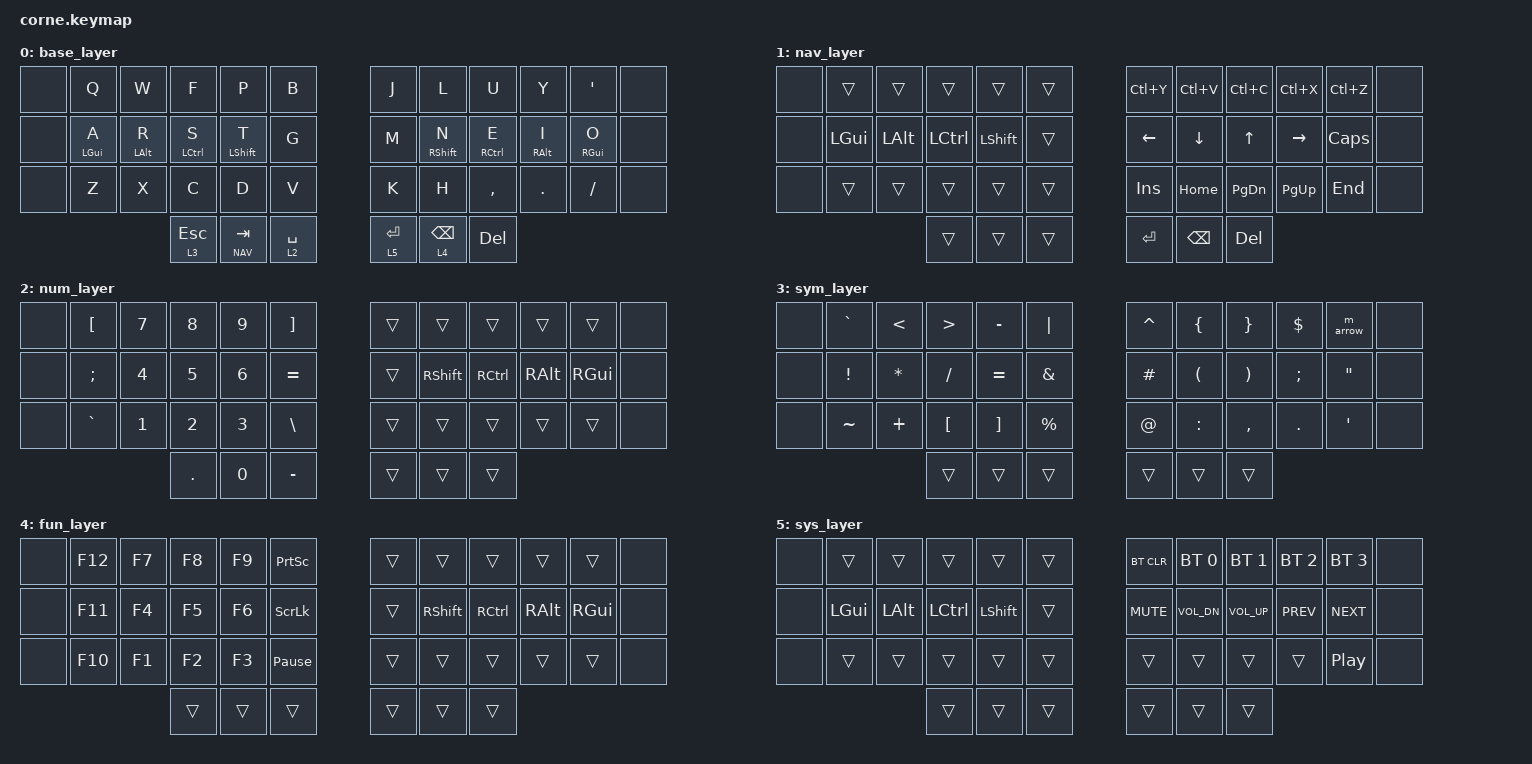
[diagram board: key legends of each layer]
#include <behaviors.dtsi>
#include <dt-bindings/zmk/bt.h>
#include <dt-bindings/zmk/keys.h>

#define BASE 0
#define NAV  1
#define NUM  2
#define SYM  3
#define FUN  4
#define SYS  5

/ {
    behaviors {
        hm: homerow_mods {
            compatible = "zmk,behavior-hold-tap";
            label = "HOMEROW_MODS";
            #binding-cells = <2>;
            tapping-term-ms = <200>;
            quick-tap-ms = <0>;
            flavor = "tap-preferred";
            bindings = <&kp>, <&kp>;
        };
    };

    macros {
        m_arrow: m_arrow {
            compatible = "zmk,behavior-macro";
            #binding-cells = <0>;
            bindings = <&kp MINUS &kp GT>;
        };
    };

    keymap {
        compatible = "zmk,keymap";

        base_layer {
            // -----------------------------------------------------------------------------------------
            // | NONE |  Q  |  W  |  F  |  P  |  B  |   |  J  |  L   |  U  |  Y  |  '  | NONE |
            // | NONE | A/GUI | R/ALT | S/CTRL| T/SFT |  G  |   |  M  | N/SFT| E/CTRL| I/ALT | O/GUI | NONE |
            // | NONE |  Z  |  X  |  C  |  D  |  V  |   |  K  |  H   |  ,  |  .  |  /  | NONE |
            //                    | SYS/ESC | NAV/TAB | SPACE |   | RET | NUM/BSPC | SYM/DEL |

            bindings = <
&none  &kp Q       &kp W       &kp F        &kp P        &kp B          &kp J        &kp L        &kp U        &kp Y       &kp SQT     &none
&none  &hm LGUI A  &hm LALT R  &hm LCTRL S  &hm LSHFT T  &kp G          &kp M        &hm RSHFT N  &hm RCTRL E  &hm RALT I  &hm RGUI O  &none
&none  &kp Z       &kp X       &kp C        &kp D        &kp V          &kp K        &kp H        &kp COMMA    &kp DOT     &kp FSLH    &none
                               &lt 3 ESC    &lt NAV TAB  &lt 2 SPACE    &lt 5 ENTER  &lt 4 BSPC   &kp DELETE
            >;
        };

        nav_layer {
            // -----------------------------------------------------------------------------------------
            // | NONE |     |     |     |     |     |   | REDO| PASTE| COPY| CUT | UNDO| NONE |
            // | NONE | GUI | ALT | CTRL| SHFT|     |   | LEFT| DOWN |  UP | RGHT| CAPS| NONE |
            // | NONE |     |     |     |     |     |   | INS | HOME | PGDN| PGUP| END | NONE |
            //                    |     |     |     |   | RET | BSPC | DEL |

            bindings = <
&none  &trans    &trans    &trans     &trans     &trans    &kp LC(Y)  &kp LC(V)  &kp LC(C)  &kp LC(X)  &kp LC(Z)  &none
&none  &kp LGUI  &kp LALT  &kp LCTRL  &kp LSHFT  &trans    &kp LEFT   &kp DOWN   &kp UP     &kp RIGHT  &kp CAPS   &none
&none  &trans    &trans    &trans     &trans     &trans    &kp INS    &kp HOME   &kp PG_DN  &kp PG_UP  &kp END    &none
                           &trans     &trans     &trans    &kp RET    &kp BSPC   &kp DEL
            >;
        };

        num_layer {
            // -----------------------------------------------------------------------------------------
            // | NONE |  [  |  7  |  8  |  9  |  ]  |   |     |     |     |     |     | NONE |
            // | NONE |  ;  |  4  |  5  |  6  |  =  |   |     | SHFT| CTRL| ALT | GUI | NONE |
            // | NONE |  `  |  1  |  2  |  3  |  \  |   |     |     |     |     |     | NONE |
            //                    |  .  |  0  |  -  |   |     |     |     |

            bindings = <
&none  &kp LBKT   &kp N7  &kp N8   &kp N9  &kp RBKT     &trans  &trans     &trans     &trans    &trans    &none
&none  &kp SEMI   &kp N4  &kp N5   &kp N6  &kp EQUAL    &trans  &kp RSHFT  &kp RCTRL  &kp RALT  &kp RGUI  &none
&none  &kp GRAVE  &kp N1  &kp N2   &kp N3  &kp BSLH     &trans  &trans     &trans     &trans    &trans    &none
                          &kp DOT  &kp N0  &kp MINUS    &trans  &trans     &trans
            >;
        };

        sym_layer {
            // -----------------------------------------------------------------------------------------
            // | NONE |  `  |  <  |  >  |  -  |  |  |   |  ^  |  {  |  }  |  $  |  -> | NONE |
            // | NONE |  !  |  *  |  /  |  =  |  &  |   |  #  |  (  |  )  |  ;  |  "  | NONE |
            // | NONE |  ~  |  +  |  [  |  ]  |  %  |   |  @  |  :  |  ,  |  .  |  '  | NONE |
            //                    |     |     |     |   |     |     |     |

            bindings = <
&none  &kp GRAVE  &kp LT     &kp GT    &kp MINUS  &kp PIPE     &kp CARET  &kp LBRC   &kp RBRC   &kp DLLR  &m_arrow  &none
&none  &kp EXCL   &kp ASTRK  &kp FSLH  &kp EQUAL  &kp AMPS     &kp HASH   &kp LPAR   &kp RPAR   &kp SEMI  &kp DQT   &none
&none  &kp TILDE  &kp PLUS   &kp LBKT  &kp RBKT   &kp PRCNT    &kp AT     &kp COLON  &kp COMMA  &kp DOT   &kp SQT   &none
                             &trans    &trans     &trans       &trans     &trans     &trans
            >;
        };

        fun_layer {
            // -----------------------------------------------------------------------------------------
            // | NONE | F12 |  F7 |  F8 |  F9 | PRSC|   |     |     |     |     |     | NONE |
            // | NONE | F11 |  F4 |  F5 |  F6 | SLCK|   |     | SHFT| CTRL| ALT | GUI | NONE |
            // | NONE | F10 |  F1 |  F2 |  F3 | PAUS|   |     |     |     |     |     | NONE |
            //                    |     |     |     |   |     |     |     |

            bindings = <
&none  &kp F12  &kp F7  &kp F8  &kp F9  &kp PSCRN          &trans  &trans     &trans     &trans    &trans    &none
&none  &kp F11  &kp F4  &kp F5  &kp F6  &kp SLCK           &trans  &kp RSHFT  &kp RCTRL  &kp RALT  &kp RGUI  &none
&none  &kp F10  &kp F1  &kp F2  &kp F3  &kp PAUSE_BREAK    &trans  &trans     &trans     &trans    &trans    &none
                        &trans  &trans  &trans             &trans  &trans     &trans
            >;
        };

        sys_layer {
            // -----------------------------------------------------------------------------------------
            // | NONE |     |     |     |     |     |   |BT CLR| BT 0| BT 1| BT 2| BT 3| NONE |
            // | NONE | GUI | ALT | CTRL| SHFT|     |   | MUTE | VOL-| VOL+| PREV| NEXT| NONE |
            // | NONE |     |     |     |     |     |   |      |     |     |     | PLAY| NONE |
            //                    |     |     |     |   |      |     |     |

            bindings = <
&none  &trans    &trans    &trans     &trans     &trans    &bt BT_CLR  &bt BT_SEL 0  &bt BT_SEL 1  &bt BT_SEL 2  &bt BT_SEL 3  &none
&none  &kp LGUI  &kp LALT  &kp LCTRL  &kp LSHFT  &trans    &kp C_MUTE  &kp C_VOL_DN  &kp C_VOL_UP  &kp C_PREV    &kp C_NEXT    &none
&none  &trans    &trans    &trans     &trans     &trans    &trans      &trans        &trans        &trans        &kp C_PP      &none
                           &trans     &trans     &trans    &trans      &trans        &trans
            >;
        };
    };
};
